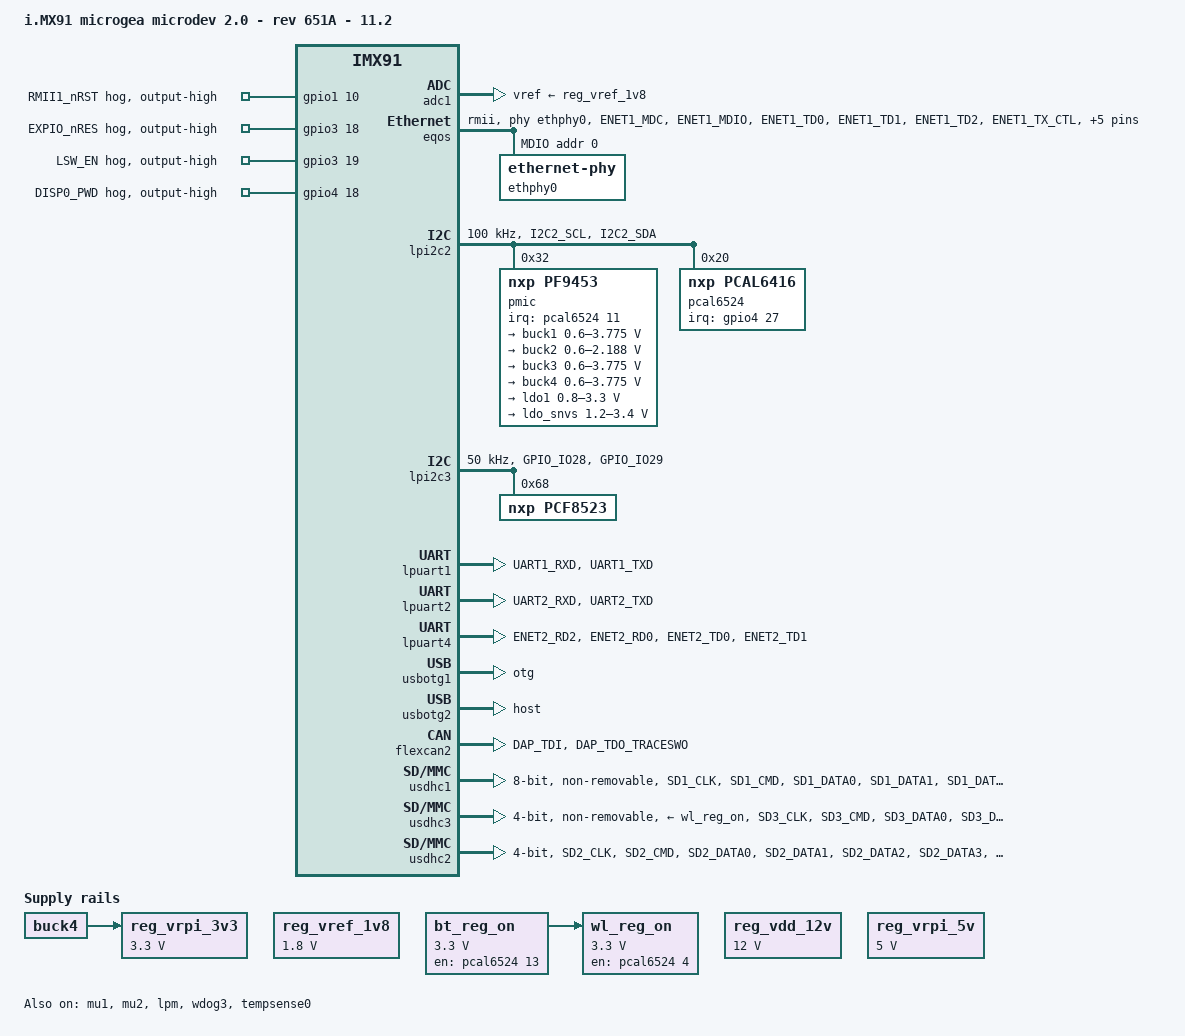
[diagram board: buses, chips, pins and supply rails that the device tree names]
// SPDX-License-Identifier: (GPL-2.0+ OR MIT)
/*
 * Copyright 2024 NXP
 */

/dts-v1/;

#include <dt-bindings/usb/pd.h>
#include "../freescale/imx91.dtsi"

&ele_fw2 {
	memory-region = <&ele_reserved>;
};

/ {
	model = "i.MX91 microgea microdev 2.0 - rev 651A - 11.2";
	compatible = "eng,microdev2.0", "fsl,imx91";

	chosen {
		stdout-path = &lpuart1;
	};

	aliases {
		/delete-property/ rtc0;
	};

	aliases {
		rtc0 = &pcf8523;
	};

	reserved-memory {
		#address-cells = <2>;
		#size-cells = <2>;
		ranges;

		linux,cma {
			compatible = "shared-dma-pool";
			reusable;
			alloc-ranges = <0 0x80000000 0 0x40000000>;
			size = <0 0x10000000>;
			linux,cma-default;
		};

		ele_reserved: ele-reserved@a4120000 {
			compatible = "shared-dma-pool";
			reg = <0 0xa4120000 0 0x100000>;
			no-map;
		};
	};

	reg_vref_1v8: regulator-adc-vref {
		compatible = "regulator-fixed";
		regulator-name = "vref_1v8";
		regulator-min-microvolt = <1800000>;
		regulator-max-microvolt = <1800000>;
	};

	wl_reg_on: regulator-wlregon {
		compatible = "regulator-fixed";
		regulator-name = "WL_REG_ON";
		regulator-min-microvolt = <3300000>;
		regulator-max-microvolt = <3300000>;
		gpio = <&pcal6524 4 GPIO_ACTIVE_HIGH>;
		enable-active-high;
		vin-supply = <&bt_reg_on>;
	};

	bt_reg_on: regulator-btregon {
		compatible = "regulator-fixed";
		regulator-name = "BT_REG_ON";
		regulator-min-microvolt = <3300000>;
		regulator-max-microvolt = <3300000>;
		gpio = <&pcal6524 13 GPIO_ACTIVE_HIGH>;
		enable-active-high;
	};

	reg_vdd_12v: regulator-vdd-12v {
		compatible = "regulator-fixed";
		regulator-name = "reg_vdd_12v";
		regulator-min-microvolt = <12000000>;
		regulator-max-microvolt = <12000000>;
		enable-active-high;
	};

	reg_vrpi_3v3: regulator-vrpi-3v3 {
		compatible = "regulator-fixed";
		regulator-name = "VRPI_3V3";
		regulator-min-microvolt = <3300000>;
		regulator-max-microvolt = <3300000>;
		enable-active-high;
		vin-supply = <&buck4>;
	};

	reg_vrpi_5v: regulator-vrpi-5v {
		compatible = "regulator-fixed";
		regulator-name = "VRPI_5V";
		regulator-min-microvolt = <5000000>;
		regulator-max-microvolt = <5000000>;
		enable-active-high;
	};

	usdhc3_pwrseq: usdhc3_pwrseq {
		compatible = "mmc-pwrseq-simple";
	};
};

&adc1 {
	vref-supply = <&reg_vref_1v8>;
	status = "okay";
};

&mu1 {
	status = "okay";
};

&mu2 {
	status = "okay";
};

&eqos {
	pinctrl-names = "default";
	pinctrl-0 = <&pinctrl_eqos>;
	phy-mode = "rmii";
	phy-handle = <&ethphy0>;
	snps,rmii_refclk_ext;
	status = "okay";

	mdio {
		compatible = "snps,dwmac-mdio";
		#address-cells = <1>;
		#size-cells = <0>;
		clock-frequency = <5000000>;

		ethphy0: ethernet-phy@0 {
			reg = <0>;
		};
	};
};

&lpm {
	soc-supply = <&buck2>;
	status = "okay";
};

&lpi2c2 {
	#address-cells = <1>;
	#size-cells = <0>;
	clock-frequency = <100000>;
	pinctrl-names = "default", "sleep";
	pinctrl-0 = <&pinctrl_lpi2c2>;
	pinctrl-1 = <&pinctrl_lpi2c2>;
	status = "okay";

	pmic@32 {
		compatible = "nxp,pf9453";
		reg = <0x32>;
		interrupt-parent = <&pcal6524>;
		interrupts = <11 IRQ_TYPE_EDGE_FALLING>;

		regulators {
			buck1: BUCK1 {
				regulator-name = "BUCK1";
				regulator-min-microvolt = <600000>;
				regulator-max-microvolt = <3775000>;
				regulator-boot-on;
				regulator-always-on;
			};

			buck2: BUCK2 {
				regulator-name = "BUCK2";
				regulator-min-microvolt = <600000>;
				regulator-max-microvolt = <2187500>;
				regulator-boot-on;
				regulator-always-on;
				regulator-ramp-delay = <12500>;
			};

			buck3: BUCK3 {
				regulator-name = "BUCK3";
				regulator-min-microvolt = <600000>;
				regulator-max-microvolt = <3775000>;
				regulator-boot-on;
				regulator-always-on;
			};

			buck4: BUCK4{
				regulator-name = "BUCK4";
				regulator-min-microvolt = <600000>;
				regulator-max-microvolt = <3775000>;
				regulator-boot-on;
				regulator-always-on;
			};

			ldo1: LDO1 {
				regulator-name = "LDO1";
				regulator-min-microvolt = <800000>;
				regulator-max-microvolt = <3300000>;
				regulator-boot-on;
				regulator-always-on;
			};

			ldo_snvs: LDO_SNVS {
				regulator-name = "LDO_SNVS";
				regulator-min-microvolt = <1200000>;
				regulator-max-microvolt = <3400000>;
				regulator-boot-on;
				regulator-always-on;
			};
		};
	};

	pcal6524: gpio@20 {
		compatible = "nxp,pcal6416";
		pinctrl-names = "default";
		pinctrl-0 = <&pinctrl_pcal6416>;
		reg = <0x20>;
        	interrupt-parent = <&gpio4>;
	        interrupts = <27 IRQ_TYPE_LEVEL_LOW>;
		interrupt-controller;
		#interrupt-cells = <2>;
		gpio-controller;
		#gpio-cells = <2>;
		gpio-line-names =
			"EXPIO_0_0", "EXPIO_0_1", "EXPIO_0_2", "EXPIO_0_3",
			"EXPIO_0_4", "EXPIO_0_5", "EXPIO_0_6", "EXPIO_0_7",
			"EXPIO_1_0", "EXPIO_1_1", "EXPIO_1_2", "EXPIO_1_3",
			"EXPIO_1_4", "EXPIO_1_5", "EXPIO_1_6", "EXPIO_1_7";

		EXPIO_0_6 {
			gpio-hog;
			gpios = <6 0>;
			output-low;
		};
	};
};

&clk {
	init-on-array = <IMX91_CLK_CCM_CKO2>;
};

&lpi2c3 {
	#address-cells = <1>;
	#size-cells = <0>;
	clock-frequency = <50000>;
	pinctrl-names = "default";
	pinctrl-0 = <&pinctrl_lpi2c3>;
	status = "okay";

	pcf8523: rtc@68 {
		compatible = "nxp,pcf8523";
		reg = <0x68>;
	};
};

&lpuart1 { /* console */
	pinctrl-names = "default";
	pinctrl-0 = <&pinctrl_uart1>;
	status = "okay";
};

&lpuart2 { /* RS232 */
	pinctrl-names = "default";
	pinctrl-0 = <&pinctrl_uart2>;
	status = "okay";
};

&lpuart4 { /* BT */
	pinctrl-names = "default";
	pinctrl-0 = <&pinctrl_uart4>;
	uart-has-rtscts;
	status = "okay";
};

&usbotg1 {
	dr_mode = "otg";
	status = "okay";
};

&usbotg2 {
	dr_mode = "host";
	status = "okay";
};

&micfil {
	status = "disabled";
};

&flexcan2 {
	pinctrl-names = "default";
	pinctrl-0 = <&pinctrl_flexcan2>;
	status = "okay";
};

&usdhc1 { /* eMMC */
	pinctrl-names = "default";
	pinctrl-0 = <&pinctrl_usdhc1>;
	bus-width = <8>;
	no-1-8-v;
	no-mmc-hs400;
	non-removable;
	status = "okay";
};

&usdhc3 {
	#address-cells = <1>;
	#size-cells = <0>;
	max-frequency = <10000000>;
	pinctrl-names = "default";
	pinctrl-0 = <&pinctrl_usdhc3>;
	vmmc-supply = <&wl_reg_on>;
	bus-width = <4>;
	no-1-8-v;
	pm-ignore-notify;
	keep-power-in-suspend;
	non-removable;
	status = "okay";
#if 0
	brcmf: bcrmf@1 {
		reg = <1>;
		compatible = "brcm,bcm4329-fmac";
	};
#endif
};

&usdhc2 {  /* sdcard */
	pinctrl-names = "default";
	pinctrl-0 = <&pinctrl_usdhc2>;
	//mmc-pwrseq = <&usdhc3_pwrseq>;
	cd-gpios = <&pcal6524 15 GPIO_ACTIVE_LOW>;
	broken-cd;
	max-frequency = <25000000>;
	bus-width = <4>;
	no-1-8-v;
	status = "okay";
};

&wdog3 {
	status = "okay";
};

&tempsense0 {
	status = "okay";
};

&iomuxc {
	pinctrl_pmic: pmicirq {
		fsl,pins = <
			MX91_PAD_SD2_RESET_B__GPIO3_IO7	0x57e
		>;
	};

	pinctrl_flexcan2: flexcan2grp {
		fsl,pins = <
			MX91_PAD_DAP_TDI__CAN2_TX			0x139e
			MX91_PAD_DAP_TDO_TRACESWO__CAN2_RX	0x139e
		>;
	};

	pinctrl_eqos: eqosgrp {
		fsl,pins = <
			MX91_PAD_ENET1_MDC__ENET1_MDC					0x57e
			MX91_PAD_ENET1_MDIO__ENET_QOS_MDIO				0x57e
			MX91_PAD_ENET1_TD0__ENET_QOS_RGMII_TD0				0x57e
			MX91_PAD_ENET1_TD1__ENET1_RGMII_TD1				0x57e
			MX91_PAD_ENET1_TD2__ENET_QOS_CLOCK_GENERATE_CLK			0x57e
			MX91_PAD_ENET1_TX_CTL__ENET_QOS_RGMII_TX_CTL			0x57e
			MX91_PAD_ENET1_RD0__ENET_QOS_RGMII_RD0				0x57e
			MX91_PAD_ENET1_RD1__ENET_QOS_RGMII_RD1				0x57e
			MX91_PAD_ENET1_RXC__ENET_QOS_RGMII_RXC				0x5fe
			MX91_PAD_ENET1_RX_CTL__ENET_QOS_RGMII_RX_CTL			0x57e
			MX91_PAD_PDM_BIT_STREAM1__GPIO1_IO10				0x57e
		>;
	};

	pinctrl_lpi2c2: lpi2c2grp {
		fsl,pins = <
			MX91_PAD_I2C2_SCL__LPI2C2_SCL			0x40000b9e
			MX91_PAD_I2C2_SDA__LPI2C2_SDA			0x40000b9e
		>;
	};

	pinctrl_lpi2c3: lpi2c3grp {
		fsl,pins = <
			MX91_PAD_GPIO_IO28__LPI2C3_SDA			0x40000b9e
			MX91_PAD_GPIO_IO29__LPI2C3_SCL			0x40000b9e
		>;
	};

	pinctrl_pcal6416: pcal6416grp {
		fsl,pins = <
			MX91_PAD_ENET2_RD3__GPIO4_IO27			0x31e /* INTERRUPT */
			MX91_PAD_SD1_STROBE__GPIO3_IO18			0x31e /* RESET */
		>;
	};

	pinctrl_uart1: uart1grp {
		fsl,pins = <
			MX91_PAD_UART1_RXD__LPUART1_RX			0x31e
			MX91_PAD_UART1_TXD__LPUART1_TX			0x31e
		>;
	};

	pinctrl_uart2: uart2grp {
		fsl,pins = <
			MX91_PAD_UART2_RXD__LPUART2_RX			0x31e
			MX91_PAD_UART2_TXD__LPUART2_TX			0x31e
		>;
	};

	pinctrl_uart4: uart4grp {
		fsl,pins = <
			MX91_PAD_ENET2_RD2__LPUART4_CTS_B	0x31e
			MX91_PAD_ENET2_RD0__LPUART4_RX		0x31e
			MX91_PAD_ENET2_TD0__LPUART4_TX		0x31e
			MX91_PAD_ENET2_TD1__LPUART4_RTS_B	0x31e
		>;
	};

	pinctrl_usdhc1: usdhc1grp {
		fsl,pins = <
			MX91_PAD_SD1_CLK__USDHC1_CLK		0x1582
			MX91_PAD_SD1_CMD__USDHC1_CMD		0x1382
			MX91_PAD_SD1_DATA0__USDHC1_DATA0	0x1382
			MX91_PAD_SD1_DATA1__USDHC1_DATA1	0x1382
			MX91_PAD_SD1_DATA2__USDHC1_DATA2	0x1382
			MX91_PAD_SD1_DATA3__USDHC1_DATA3	0x1382
			MX91_PAD_SD1_DATA4__USDHC1_DATA4	0x1382
			MX91_PAD_SD1_DATA5__USDHC1_DATA5	0x1382
			MX91_PAD_SD1_DATA6__USDHC1_DATA6	0x1382
			MX91_PAD_SD1_DATA7__USDHC1_DATA7	0x1382
		>;
	};

	pinctrl_usdhc2: usdhc2grp {
		fsl,pins = <
			MX91_PAD_SD2_CLK__USDHC2_CLK		0x1582
			MX91_PAD_SD2_CMD__USDHC2_CMD		0x1382
			MX91_PAD_SD2_DATA0__USDHC2_DATA0	0x1382
			MX91_PAD_SD2_DATA1__USDHC2_DATA1	0x1382
			MX91_PAD_SD2_DATA2__USDHC2_DATA2	0x1382
			MX91_PAD_SD2_DATA3__USDHC2_DATA3	0x1382
			MX91_PAD_CCM_CLKO2__CCMSRCGPCMIX_CLKO2	0x31e
		>;
	};

	pinctrl_usdhc3: usdhc3grp {
		fsl,pins = <
			MX91_PAD_SD3_CLK__USDHC3_CLK		0x1582
			MX91_PAD_SD3_CMD__USDHC3_CMD		0x1382
			MX91_PAD_SD3_DATA0__USDHC3_DATA0	0x1382
			MX91_PAD_SD3_DATA1__USDHC3_DATA1	0x1382
			MX91_PAD_SD3_DATA2__USDHC3_DATA2	0x1382
			MX91_PAD_SD3_DATA3__USDHC3_DATA3	0x1382
		>;
	};
};

&gpio1 {
	gpio-line-names =
		"", "", "", "", "", "", "", "",
		"", "", "RMII1_nRST", "", "", "", "", "",
		"", "", "", "", "", "", "", "",
		"", "", "", "", "", "", "", "";
		RMII1_nRST {
			gpio-hog;
			gpios = <10 0>;
			output-high;
		};
};

&gpio2 {
	gpio-line-names =
		"", "", "", "", "", "", "", "",
		"", "", "", "", "", "", "", "",
		"", "", "", "", "", "", "", "",
		"", "", "", "", "", "", "", "";
};

&gpio3 {
	gpio-line-names =
		"", "", "", "", "", "", "", "",
		"", "", "", "", "", "", "", "",
		"", "", "EXPIO_nRES", "LSW_EN", "", "", "", "",
		"", "", "", "", "", "", "", "";

		EXPIO_nRES {
			gpio-hog;
			gpios = <18 0>;
			output-high;
		};

		LSW_EN {
			gpio-hog;
			gpios = <19 0>;
			output-high;
		};
};

&gpio4 {
	gpio-line-names =
		"", "", "", "", "", "", "", "",
		"", "", "", "", "", "", "", "",
		"", "", "DISP0_PWD", "", "", "", "", "",
		"", "", "", "", "", "", "", "";
		DISP0_PWD {
			gpio-hog;
			gpios = <18 0>;
			output-high;
		};
};
